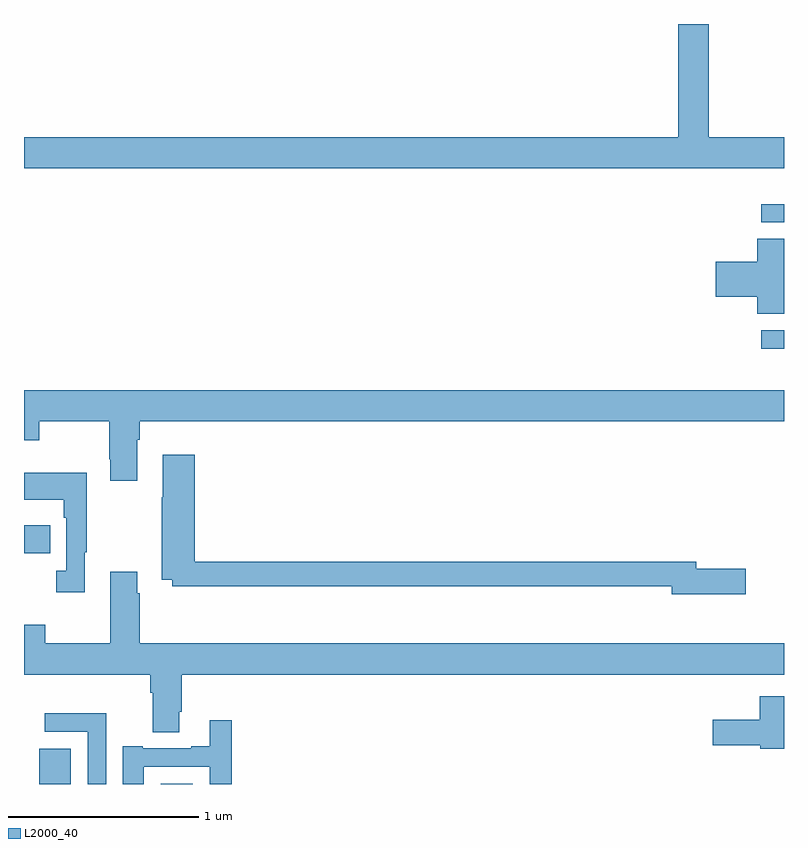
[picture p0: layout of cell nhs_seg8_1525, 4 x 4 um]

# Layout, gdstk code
import gdstk
lib = gdstk.Library(unit=1e-6, precision=1e-09)
def R(c, l, rs):  # rectangles x0, y0, x1, y1
    for r in rs: c.add(gdstk.rectangle(r[:2], r[2:], *l))
def P(c, l, *ps):  # polygons
    for p in ps: c.add(gdstk.Polygon(p, *l))
L2000_40 = (2000, 40)

nhs_seg8_1525 = lib.new_cell('nhs_seg8_1525')
R(nhs_seg8_1525, L2000_40, [(207.08,1139.9,207.247,1140.085), (207.719,1139.9,207.889,1139.902), (207,1141.114,207.137,1141.261), (210.879,1142.191,211,1142.289), (210.879,1142.856,211,1142.952)])
P(nhs_seg8_1525, L2000_40, [(211,1143.304),(210.603,1143.304),(210.603,1143.9),(210.443,1143.9),(210.443,1143.304),(207,1143.304),(207,1143.14),(211,1143.14)],
  [(211,1142.771),(210.86,1142.771),(210.86,1142.648),(210.642,1142.648),(210.642,1142.465),(210.86,1142.465),(210.86,1142.374),(211,1142.374)],
  [(207.595,1141.712),(207.608,1141.712),(207.608,1141.808),(211,1141.808),(211,1141.972),(207,1141.972),(207,1141.709),(207.081,1141.709),(207.081,1141.808),(207.448,1141.808),(207.448,1141.609),(207.455,1141.609),(207.455,1141.497),(207.595,1141.497)],
  [(210.799,1141.034),(210.538,1141.034),(210.538,1141.07),(207.899,1141.07),(207.899,1141.633),(207.731,1141.633),(207.731,1141.409),(207.724,1141.409),(207.724,1140.974),(207.78,1140.974),(207.78,1140.942),(210.41,1140.942),(210.41,1140.899),(210.799,1140.899)],
  [(207.319,1141.121),(207.331,1141.121),(207.331,1141.537),(207,1141.537),(207,1141.397),(207.21,1141.397),(207.21,1141.301),(207.222,1141.301),(207.222,1141.022),(207.171,1141.022),(207.171,1140.909),(207.319,1140.909)],
  [(207.817,1140.28),(207.83,1140.28),(207.83,1140.476),(211,1140.476),(211,1140.64),(207.608,1140.64),(207.608,1140.905),(207.595,1140.905),(207.595,1141.018),(207.455,1141.018),(207.455,1140.64),(207.111,1140.64),(207.111,1140.739),(207,1140.739),(207,1140.476),(207.665,1140.476),(207.665,1140.38),(207.677,1140.38),(207.677,1140.172),(207.817,1140.172)],
  [(211,1140.361),(210.872,1140.361),(210.872,1140.238),(210.624,1140.238),(210.624,1140.104),(210.876,1140.104),(210.876,1140.086),(211,1140.086)],
  [(207.432,1140.272),(207.108,1140.272),(207.108,1140.174),(207.336,1140.174),(207.336,1139.9),(207.432,1139.9)],
  [(207.631,1139.991),(207.978,1139.991),(207.978,1139.9),(208.094,1139.9),(208.094,1140.235),(207.977,1140.235),(207.977,1140.1),(207.881,1140.1),(207.881,1140.087),(207.625,1140.087),(207.625,1140.1),(207.521,1140.1),(207.521,1139.9),(207.631,1139.9)])

lib.write_gds('nhs_seg8_1525.gds')
